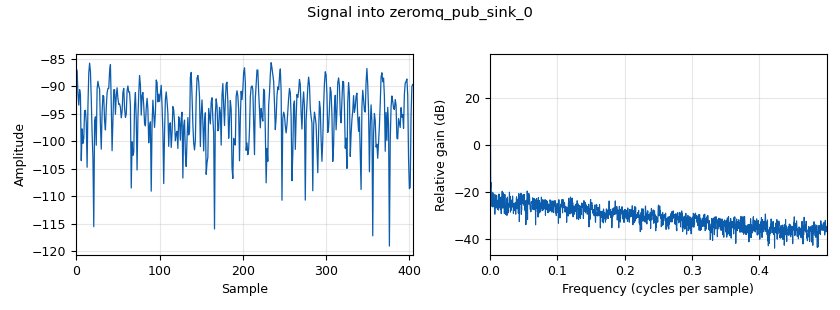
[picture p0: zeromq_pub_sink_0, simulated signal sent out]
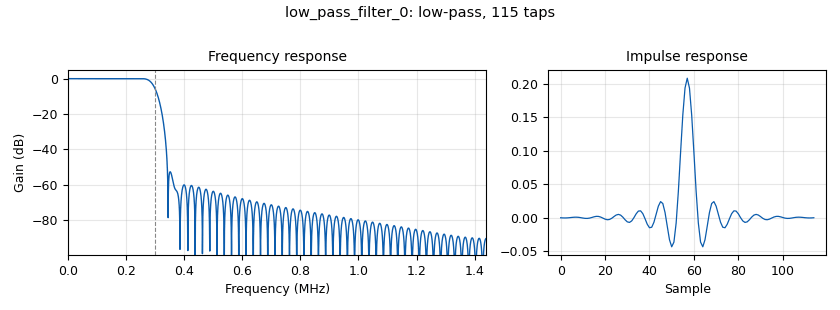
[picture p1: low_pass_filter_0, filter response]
options:
  parameters:
    author: muaddib
    generate_options: no_gui
    id: RTLSDR_or_fake_signal_to_fft_to_zmq
    output_language: python
    run_options: run
    title: Signal Content Portion of Web Based Spectrum Display
  states: {}

blocks:
- name: analog_noise_source_x_0
  id: analog_noise_source_x
  parameters:
    amp: '.038'
    comment: WIDEBAND SIGNAL
    noise_type: analog.GR_GAUSSIAN
    seed: '0'
    type: complex
  states: {}
- name: analog_noise_source_x_0_0
  id: analog_noise_source_x
  parameters:
    amp: '0.001'
    comment: NOISE FLOOR
    noise_type: analog.GR_GAUSSIAN
    seed: '0'
    type: complex
  states: {}
- name: analog_sig_source_x_0
  id: analog_sig_source_x
  parameters:
    amp: '0.0075'
    comment: NARROWBAND SIGNAL
    freq: '-922e3'
    offset: '0'
    phase: '0'
    samp_rate: samp_rate
    type: complex
    waveform: analog.GR_COS_WAVE
  states: {}
- name: analog_sig_source_x_0_0
  id: analog_sig_source_x
  parameters:
    amp: '.007'
    comment: NARROWBAND SIGNAL
    freq: 500e3
    offset: '0'
    phase: '0'
    samp_rate: samp_rate
    type: complex
    waveform: analog.GR_COS_WAVE
  states: {}
- name: app_vars
  id: snippet
  parameters:
    code: |-
      self.app = Bottle()
      self.connections = set()
      self.opts = {}
      self.fft_broadcast_copy.set_tb(self)
      print("app_vars")
    priority: '1'
    section: main_after_init
  states: {state: disabled}
- name: blocks_add_xx_0
  id: blocks_add_xx
  parameters:
    num_inputs: '4'
    type: complex
  states: {}
- name: fft_size
  id: parameter
  parameters:
    label: fft size
    short_id: n
    type: intx
    value: '8192'
  states: {}
- name: frame_rate
  id: parameter
  parameters:
    label: frame rate
    short_id: r
    type: intx
    value: '30'
  states: {}
- name: frequency
  id: parameter
  parameters:
    label: frequency
    short_id: f
    type: eng_float
    value: 100e6
  states: {}
- name: gain
  id: parameter
  parameters:
    label: gain
    short_id: g
    type: eng_float
    value: '40.0'
  states: {}
- name: import_0
  id: import
  parameters:
    imports: import json
  states: {state: disabled}
- name: import_1
  id: import
  parameters:
    imports: from gevent.pywsgi import WSGIServer
  states: {state: disabled}
- name: import_2
  id: import
  parameters:
    imports: from geventwebsocket import WebSocketError
  states: {state: disabled}
- name: import_3
  id: import
  parameters:
    imports: from geventwebsocket.handler import WebSocketHandler
  states: {state: disabled}
- name: import_4
  id: import
  parameters:
    imports: import argparse
  states: {state: disabled}
- name: import_5
  id: import
  parameters:
    imports: import numpy as np
  states: {state: disabled}
- name: import_6
  id: import
  parameters:
    imports: from bottle import request, Bottle, abort, static_file
  states: {state: disabled}
- name: import_6_0
  id: import
  parameters:
    imports: from pprint import pprint
  states: {state: disabled}
- name: logpwrfft_x_0
  id: logpwrfft_x
  parameters:
    average: 'False'
    avg_alpha: '1.0'
    fft_size: fft_size
    frame_rate: frame_rate
    ref_scale: '1'
    sample_rate: samp_rate
    shift: 'True'
    type: complex
  states: {}
- name: low_pass_filter_0
  id: low_pass_filter
  parameters:
    comment: WIDEBAND SIGNAL
    cutoff_freq: 300e3
    decim: '1'
    gain: '1'
    samp_rate: samp_rate
    type: fir_filter_ccf
    width: 60e3
    win: window.WIN_HAMMING
  states: {}
- name: note
  id: note
  parameters:
    comment: |-
      I
      I
      I
      I
      I
      I
      I
      I
      I
      I
      I
      I
      I
      I
      I
      I
      I
      I
      I
      I
      I
      I
      I
      I
      I
      I
      I
      I
      I
      I
      I
      I
      I
      I
      I
      I
      I
      I
      I
      I
      I
      I
      I
      I
      I
      I
      I
      I
      I
      I
  states: {}
- name: note_0_0
  id: note
  parameters:
    comment: '------------------------------------------------------------------------------------------------------------------------------------------------------------------------------------------------------------------------'
  states: {}
- name: note_0_0_0
  id: note
  parameters:
    comment: |-
      ------------------------------------------------------------------------------------------------------------------------------------------------------------------------------------------------------------------------
      FAKE MULTI CARRIER SIGNAL
      NOISE FLOOR ACCROSS SPECTRUM
      2 NARROWBAND CARRIERS
      AND 1 WIDEBAND CARRIER
      (NO RADIO REQUIRED)
  states: {}
- name: note_0_1
  id: note
  parameters:
    comment: |-
      --------------------------------------------------------------------------------------
      RADIO SOURCE (DISABLE THE 
      FAKE SIGNAL IF YOU'RE GONNA USE THIS)
  states: {}
- name: note_0_1_0
  id: note
  parameters:
    comment: '--------------------------------------------------------------------------------------'
  states: {}
- name: note_0_1_0_0
  id: note
  parameters:
    comment: '--------------------------------------------------------------------------------------'
  states: {}
- name: note_0_1_1
  id: note
  parameters:
    comment: |-
      --------------------------------------------------------------------------------------
      DSP SECTION
      SAME BLOCKS AS 'server.py'
      FROM WATERFALL PROJECT
  states: {}
- name: note_0_2
  id: note
  parameters:
    comment: '-----------------------------------------------------------------------------------------------------------'
  states: {}
- name: note_0_3
  id: note
  parameters:
    comment: |-
      -------------------------------------------------------------------------------------------------------------
      TRIED TO IMPORT THE BOTTLE SERVER PORTION
      AND BRING IN THE NON-GNURADIO CODE USING
      PYTHON SNIPPETS AS A PROOF OF CONCEPT
      NOT INTENDED FOR THE FINAL CODE
      (ALSO DOESN'T WORK I DONT THINK)
  states: {}
- name: note_1
  id: note
  parameters:
    comment: |-
      I
      I
      I
      I
      I
      I
      I
      I
      I
      I
      I
      I
      I
      I
      I
      I
      I
      I
      I
      I
      I
      I
      I
      I
      I
      I
      I
      I
      I
      I
      I
      I
      I
      I
      I
      I
      I
      I
      I
      I
      I
      I
      I
      I
      I
      I
      I
      I
      I
      I
  states: {}
- name: note_12
  id: note
  parameters:
    comment: |-
      -
       
      COMMAND LINE PARAMETERS
      WHEN WE USE PARAMETER BLOCKS
      THE GENERATED PYTHON WILL
      NOW HAVE A --help/-h menu
      ---------------------------------------------------------------------------------------------------------------------------------------------------------------------------------------------------------------------------------------
  states: {}
- name: note_1_0
  id: note
  parameters:
    comment: |-
      I
      I
      I
      I
      I
      I
      I
      I
      I
      I
      I
      I
      I
      I
      I
      I
      I
      I
      I
      I
      I
      I
  states: {}
- name: note_1_0_0
  id: note
  parameters:
    comment: |-
      I
      I
      I
      I
      I
      I
      I
      I
      I
      I
      I
      I
      I
      I
      I
      I
      I
      I
      I
      I
      I
      I
  states: {}
- name: note_1_0_0_0
  id: note
  parameters:
    comment: |-
      I
      I
      I
      I
      I
      I
      I
      I
      I
      I
      I
      I
      I
      I
      I
      I
      I
      I
      I
      I
      I
      I
  states: {}
- name: note_1_0_1
  id: note
  parameters:
    comment: |-
      I
      I
      I
      I
      I
      I
      I
      I
      I
      I
      I
      I
      I
      I
      I
      I
      I
      I
      I
      I
      I
      I
  states: {}
- name: note_1_1
  id: note
  parameters:
    comment: |-
      I
      I
      I
      I
      I
      I
  states: {}
- name: note_1_1_0
  id: note
  parameters:
    comment: |-
      I
      I
      I
      I
      I
      I
  states: {}
- name: note_2
  id: note
  parameters:
    comment: |-
      I
      I
      I
      I
      I
      I
      I
      I
      I
      I
      I
      I
      I
      I
      I
      I
      I
      I
      I
      I
      I
      I
      I
      I
      I
      I
      I
      I
      I
      I
      I
      I
      I
      I
      I
      I
      I
      I
      I
      I
      I
      I
  states: {}
- name: note_2_1
  id: note
  parameters:
    comment: |-
      I
      I
      I
      I
      I
      I
      I
      I
      I
      I
      I
      I
      I
      I
      I
      I
      I
      I
      I
      I
      I
      I
      I
      I
      I
      I
      I
      I
      I
      I
      I
      I
      I
      I
      I
      I
      I
      I
      I
      I
      I
      I
  states: {}
- name: samp_rate
  id: parameter
  parameters:
    label: sample rate
    short_id: s
    type: eng_float
    value: 2.88e6
  states: {}
- name: server
  id: snippet
  parameters:
    code: |-
      self.opts['center'] = self.frequency
      self.opts['span'] = self.samp_rate
      server = WSGIServer(("0.0.0.0", 8000),self.app,
      		handler_class=WebSocketHandler)
      try:
      	server.serve_forever()
      except Exception:
      	sys.exit(0)
      print("server")
    priority: '1'
    section: main_after_start
  states: {state: disabled}
- name: soapy_rtlsdr_source_0
  id: soapy_rtlsdr_source
  parameters:
    center_freq: frequency
    gain: gain
    samp_rate: samp_rate
    type: fc32
  states: {state: disabled}
- name: throttle
  id: blocks_throttle
  parameters:
    samples_per_second: samp_rate
    type: complex
  states: {}
- name: websocket
  id: snippet
  parameters:
    code: |-
      @self.app.route('/websocket')
      def handle_websocket():
          print('handle_websocket')
          wsock = request.environ.get('wsgi.websocket')
          if not wsock:
              abort(400, 'Expected WebSocket request.')

          self.connections.add(wsock)

          # Send center frequency and span
          wsock.send(json.dumps(self.opts))

          while True:
              try:
                  wsock.receive()
              except WebSocketError:
                  break

          self.connections.remove(wsock)


      @self.app.route('/')
      def index():
          print('index')
          return static_file('index.html', root='.')


      @self.app.route('/<filename>')
      def static(filename):
          print('static')
          return static_file(filename, root='.')
    priority: '1'
    section: main_after_init
  states: {state: disabled}
- name: xmlrpc_server_0
  id: xmlrpc_server
  parameters:
    addr: localhost
    port: '8001'
  states: {}
- name: zeromq_pub_sink_0
  id: zeromq_pub_sink
  parameters:
    address: tcp://127.0.0.1:5001
    timeout: '100'
    type: float
    vlen: fft_size
  states: {}

connections:
- [analog_noise_source_x_0, '0', low_pass_filter_0, '0']
- [analog_noise_source_x_0_0, '0', blocks_add_xx_0, '3']
- [analog_sig_source_x_0, '0', blocks_add_xx_0, '1']
- [analog_sig_source_x_0_0, '0', blocks_add_xx_0, '2']
- [blocks_add_xx_0, '0', throttle, '0']
- [logpwrfft_x_0, '0', zeromq_pub_sink_0, '0']
- [low_pass_filter_0, '0', blocks_add_xx_0, '0']
- [soapy_rtlsdr_source_0, '0', logpwrfft_x_0, '0']
- [throttle, '0', logpwrfft_x_0, '0']

metadata:
  file_format: 1
  grc_version: 3.10.2.0-rc1
